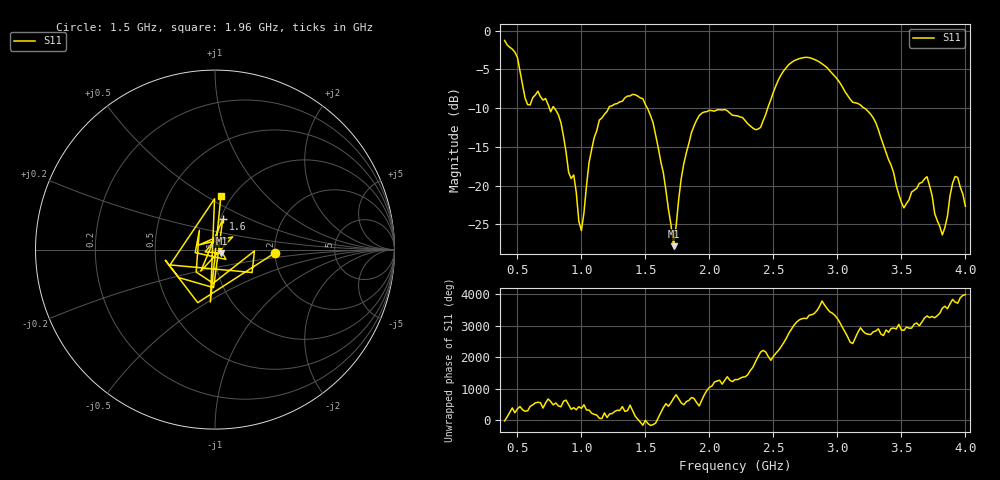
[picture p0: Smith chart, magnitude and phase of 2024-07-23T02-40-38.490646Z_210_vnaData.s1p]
!Created with skrf (http://scikit-rf.org).
# Hz S RI R 50.0
!freq ReS11 ImS11
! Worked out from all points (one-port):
!   181 points, 400 MHz to 4 GHz, reference 50 ohm
!   lowest |S11| = -27.8 dB at 1.72 GHz (marker M1), VSWR 1.08, Z = 53.7 - j2.11 ohm
!   |S11| at or under -10 dB: 789.1 MHz to 1.213 GHz (424 MHz wide, 42.4 % of centre); 1.515 GHz to 2.456 GHz (940.4 MHz wide, 47.4 % of centre); 3.211 GHz to end of sweep (the widest 3 of 4)
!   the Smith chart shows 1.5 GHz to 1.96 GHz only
!   S11 on the Smith chart (normalised r, x): 1.5 GHz: 2.00, -0.09; 1.6 GHz: 1.03, +0.36; 1.96 GHz: 0.89, +0.58
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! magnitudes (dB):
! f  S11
! 400 MHz  -1.3
! 500 MHz  -3.4
! 580 MHz  -9.5
! 660 MHz  -7.8
! 860 MHz  -13.6
! 940 MHz  -18.6
! 1 GHz  -25.8
! 1.06 GHz  -17.0
! 1.14 GHz  -11.5
! 1.3 GHz  -9.2
! 1.5 GHz  -9.5
! 1.6 GHz  -15.1
! 1.72 GHz  -27.8
! 1.76 GHz  -21.8
! 1.86 GHz  -13.2
! 1.96 GHz  -10.5
! 2.2 GHz  -10.9
! 2.4 GHz  -12.5
! 2.66 GHz  -3.9
! 2.86 GHz  -4.0
! 3.1 GHz  -8.9
! 3.28 GHz  -11.3
! 3.5 GHz  -22.2
! 3.56 GHz  -21.8
! 3.7 GHz  -18.8
! 3.82 GHz  -26.4
! 3.92 GHz  -18.8
! 4 GHz  -22.7
